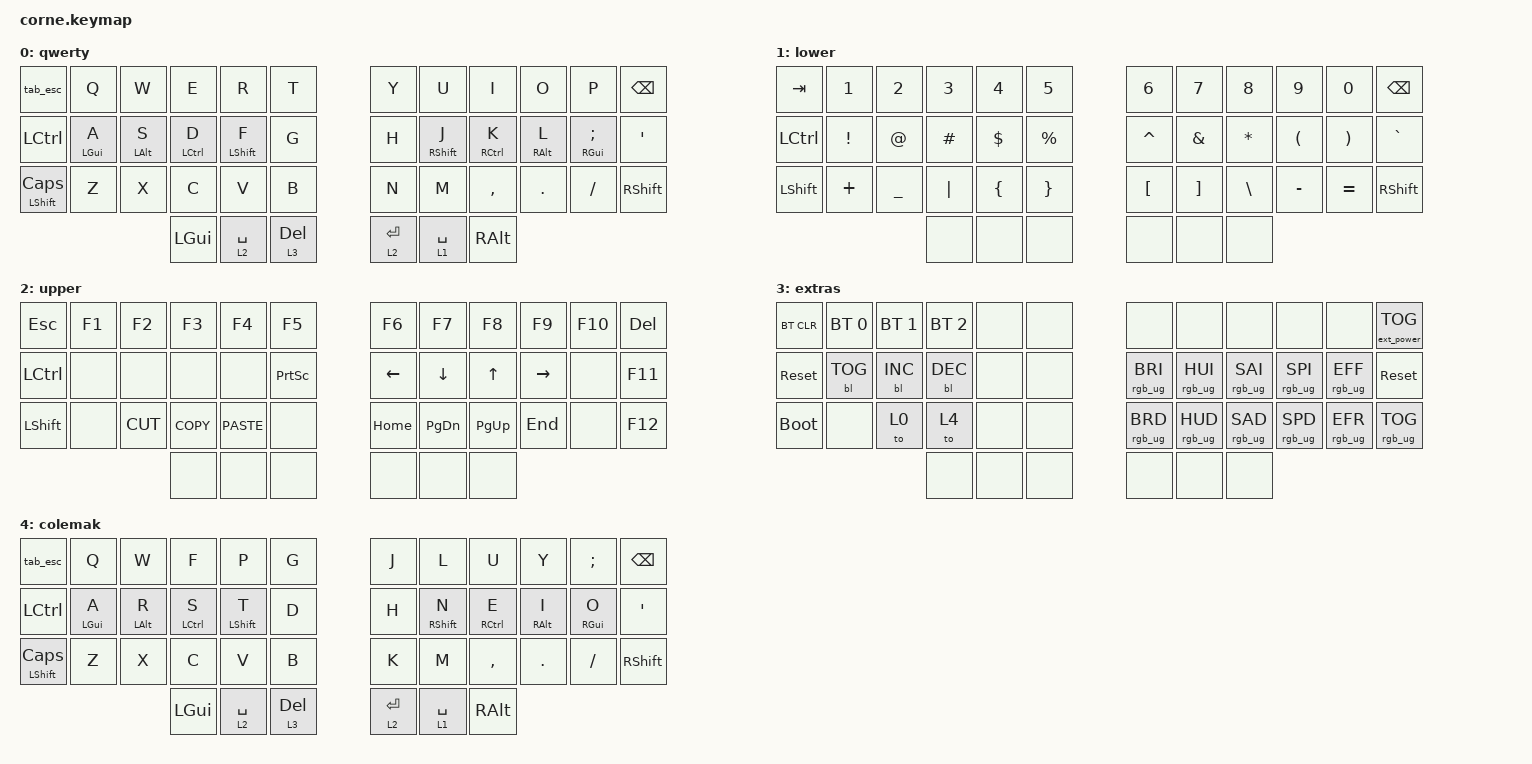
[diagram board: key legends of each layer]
#include <behaviors.dtsi>
#include <dt-bindings/zmk/bt.h>
#include <dt-bindings/zmk/ext_power.h>
#include <dt-bindings/zmk/keys.h>
#include <dt-bindings/zmk/rgb.h>
#include <dt-bindings/zmk/backlight.h> // Добавлено для работы Backlight

/ {
    behaviors {
        tab_esc: tab_esc {
            compatible = "zmk,behavior-tap-dance";
            #binding-cells = <0>;
            tapping-term-ms = <200>;
            bindings = <&kp TAB>, <&kp ESC>;
        };

        hm: homerow_mods {
            compatible = "zmk,behavior-hold-tap";
            #binding-cells = <2>;
            tapping-term-ms = <225>;
            quick-tap-ms = <180>;
            flavor = "tap-preferred";
            bindings = <&kp>, <&kp>;
        };
    };

    keymap {
        compatible = "zmk,keymap";

        qwerty {
            bindings = <
&tab_esc                 &kp Q           &kp W           &kp E         &kp R             &kp T         &kp Y        &kp U         &kp I          &kp O            &kp P               &kp BACKSPACE
&kp LCTRL                &hm LEFT_GUI A  &hm LEFT_ALT S  &hm LCTRL D   &hm LEFT_SHIFT F  &kp G         &kp H        &hm RSHIFT J  &hm RCTRL K    &hm RIGHT_ALT L  &hm RGUI SEMICOLON  &kp SQT
&mt LEFT_SHIFT CAPSLOCK  &kp Z           &kp X           &kp C         &kp V             &kp B         &kp N        &kp M         &kp COMMA      &kp DOT          &kp FSLH            &kp RIGHT_SHIFT
                                                         &kp LEFT_GUI  &lt 2 SPACE       &lt 3 DELETE  &lt 2 ENTER  &lt 1 SPACE   &kp RIGHT_ALT
            >;
        };

        lower {
            bindings = <
&kp TAB           &kp N1           &kp N2       &kp N3     &kp N4          &kp N5           &kp N6            &kp N7             &kp N8         &kp N9                &kp N0                 &kp BACKSPACE
&kp LEFT_CONTROL  &kp EXCLAMATION  &kp AT_SIGN  &kp POUND  &kp DOLLAR      &kp PERCENT      &kp CARET         &kp AMPERSAND      &kp ASTERISK   &kp LEFT_PARENTHESIS  &kp RIGHT_PARENTHESIS  &kp GRAVE
&kp LEFT_SHIFT    &kp PLUS         &kp UNDER    &kp PIPE   &kp LEFT_BRACE  &kp RIGHT_BRACE  &kp LEFT_BRACKET  &kp RIGHT_BRACKET  &kp BACKSLASH  &kp MINUS             &kp EQUAL              &kp RIGHT_SHIFT
                                                &none      &none           &none            &none             &none              &none
            >;
        };

        upper {
            bindings = <
&kp ESCAPE        &kp F1  &kp F2     &kp F3      &kp F4       &kp F5           &kp F6          &kp F7          &kp F8        &kp F9           &kp F10  &kp DELETE
&kp LEFT_CONTROL  &none   &none      &none       &none        &kp PRINTSCREEN  &kp LEFT_ARROW  &kp DOWN_ARROW  &kp UP_ARROW  &kp RIGHT_ARROW  &none    &kp F11
&kp LEFT_SHIFT    &none   &kp K_CUT  &kp K_COPY  &kp K_PASTE  &none            &kp HOME        &kp PAGE_DOWN   &kp PAGE_UP   &kp END          &none    &kp F12
                                     &none       &none        &none            &none           &none           &none
            >;
        };

        extras {
            bindings = <
&bt BT_CLR         &bt BT_SEL 0     &bt BT_SEL 1     &bt BT_SEL 2     &none            &none            &none            &none            &none            &none            &none            &ext_power EP_TOG
&sys_reset         &bl BL_TOG       &bl BL_INC       &bl BL_DEC       &none            &none            &rgb_ug RGB_BRI  &rgb_ug RGB_HUI  &rgb_ug RGB_SAI  &rgb_ug RGB_SPI  &rgb_ug RGB_EFF  &sys_reset
&bootloader        &none            &to 0            &to 4            &none            &none            &rgb_ug RGB_BRD  &rgb_ug RGB_HUD  &rgb_ug RGB_SAD  &rgb_ug RGB_SPD  &rgb_ug RGB_EFR  &rgb_ug RGB_TOG
                                                     &none            &none            &none            &none            &none            &none
            >;
        };

        colemak {
            bindings = <
&tab_esc                 &kp Q           &kp W               &kp F                   &kp P             &kp G         &kp J        &kp L               &kp U                &kp Y            &kp SEMICOLON    &kp BACKSPACE
&kp LCTRL                &hm LEFT_GUI A  &hm LEFT_ALT R      &hm LEFT_CONTROL S      &hm LEFT_SHIFT T  &kp D         &kp H        &hm RIGHT_SHIFT N   &hm RIGHT_CONTROL E  &hm RIGHT_ALT I  &hm RIGHT_GUI O  &kp SQT
&mt LEFT_SHIFT CAPSLOCK  &kp Z           &kp X               &kp C                   &kp V             &kp B         &kp K        &kp M               &kp COMMA            &kp DOT          &kp FSLH         &kp RIGHT_SHIFT
                                         &kp LEFT_GUI        &lt 2 SPACE             &lt 3 DELETE      &lt 2 ENTER   &lt 1 SPACE  &kp RIGHT_ALT
            >;
        };
    };
};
